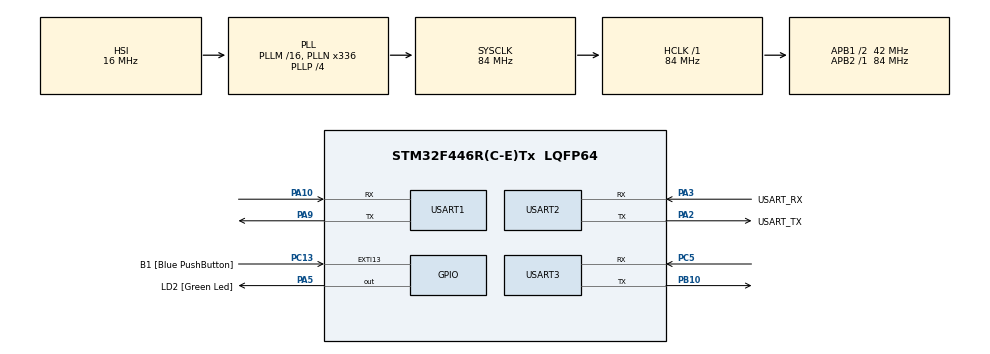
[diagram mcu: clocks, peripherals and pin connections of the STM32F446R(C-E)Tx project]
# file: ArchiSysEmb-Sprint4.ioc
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Mcu.Family=STM32F4
Mcu.Name=STM32F446R(C-E)Tx
Mcu.Package=LQFP64
NVIC.PriorityGroup=NVIC_PRIORITYGROUP_0
PA10.Mode=Asynchronous
PA10.Signal=USART1_RX
PA13.GPIO_Label=TMS
PA13.Mode=Serial_Wire
PA13.Signal=SYS_JTMS-SWDIO
PA14.GPIO_Label=TCK
PA14.Mode=Serial_Wire
PA14.Signal=SYS_JTCK-SWCLK
PA2.GPIO_Label=USART_TX
PA2.Mode=Asynchronous
PA2.Signal=USART2_TX
PA3.GPIO_Label=USART_RX
PA3.Mode=Asynchronous
PA3.Signal=USART2_RX
PA5.GPIO_Label=LD2 [Green Led]
PA5.Signal=GPIO_Output
PA9.Mode=Asynchronous
PA9.Signal=USART1_TX
PB10.Mode=Asynchronous
PB10.Signal=USART3_TX
PB3.GPIO_Label=SWO
PB3.Signal=SYS_JTDO-SWO
PC13.GPIO_Label=B1 [Blue PushButton]
PC13.GPIO_ModeDefaultEXTI=GPIO_MODE_IT_FALLING
PC13.Signal=GPXTI13
PC14-OSC32_IN.Mode=LSE-External-Oscillator
PC14-OSC32_IN.Signal=RCC_OSC32_IN
PC15-OSC32_OUT.Mode=LSE-External-Oscillator
PC15-OSC32_OUT.Signal=RCC_OSC32_OUT
PC5.Mode=Asynchronous
PC5.Signal=USART3_RX
PH0-OSC_IN.Mode=HSE-External-Oscillator
PH0-OSC_IN.Signal=RCC_OSC_IN
PH1-OSC_OUT.Mode=HSE-External-Oscillator
PH1-OSC_OUT.Signal=RCC_OSC_OUT
ProjectManager.HeapSize=0x200
ProjectManager.StackSize=0x400
ProjectManager.TargetToolchain=STM32CubeIDE
RCC.48MHZClocksFreq_Value=84000000
RCC.AHBFreq_Value=84000000
RCC.APB1CLKDivider=RCC_HCLK_DIV2
RCC.APB1Freq_Value=42000000
RCC.APB1TimFreq_Value=84000000
RCC.APB2Freq_Value=84000000
RCC.APB2TimFreq_Value=84000000
RCC.CortexFreq_Value=84000000
RCC.FLatency-AdvancedSettings=FLASH_LATENCY_2
RCC.HCLKFreq_Value=84000000
RCC.HSE_VALUE=8000000
RCC.HSI_VALUE=16000000
RCC.PLLN=336
RCC.PLLP=RCC_PLLP_DIV4
RCC.SYSCLKFreq_VALUE=84000000
RCC.SYSCLKSource=RCC_SYSCLKSOURCE_PLLCLK
RCC.USBFreq_Value=168000000
RCC.VCOOutputFreq_Value=336000000
USART1.VirtualMode=VM_ASYNC
USART2.VirtualMode=VM_ASYNC
USART3.VirtualMode=VM_ASYNC
board=NUCLEO-F446RE

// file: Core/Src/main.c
/* USER CODE BEGIN Header */
/**
  ******************************************************************************
  * @file           : main.c
  * @brief          : Main program body
  ******************************************************************************
  * @attention
  *
  * Copyright (c) 2022 STMicroelectronics.
  * All rights reserved.
  *
  * This software is licensed under terms that can be found in the LICENSE file
  * in the root directory of this software component.
  * If no LICENSE file comes with this software, it is provided AS-IS.
  *
  ******************************************************************************
  */
/* USER CODE END Header */
#include "main.h"

/* USER CODE BEGIN Includes */
#include <stdlib.h>
#include <stdint.h>
#include <string.h>
#include <stdio.h>
/* USER CODE END Includes */

/* USER CODE BEGIN PM */
#define UART_TIMEOUT 5000
#define UART_BUFFER_SIZE 8192
/* USER CODE END PM */

UART_HandleTypeDef huart1;
UART_HandleTypeDef huart2;
UART_HandleTypeDef huart3;

void SystemClock_Config(void);
static void MX_GPIO_Init(void);
static void MX_USART2_UART_Init(void);
static void MX_USART1_UART_Init(void);
static void MX_USART3_UART_Init(void);
/* USER CODE BEGIN PFP */

static void writeUART(UART_HandleTypeDef *, uint8_t *, uint16_t);
static void readUART(UART_HandleTypeDef *, uint8_t *, uint16_t);

/* USER CODE END PFP */

int main(void)
{

  /* MCU Configuration--------------------------------------------------------*/

  /* Reset of all peripherals, Initializes the Flash interface and the Systick. */
  HAL_Init();

  /* Configure the system clock */
  SystemClock_Config();

  /* Initialize all configured peripherals */
  MX_GPIO_Init();
  MX_USART2_UART_Init();
  MX_USART1_UART_Init();
  MX_USART3_UART_Init();
  /* USER CODE BEGIN 2 */

  uint8_t uartBuffer[UART_BUFFER_SIZE];
  uint16_t uartBufferSize;

  // First message

  uartBufferSize = (uint16_t) sprintf((char *) uartBuffer, "HELLO");
  writeUART(&huart1, uartBuffer, uartBufferSize);

  readUART(&huart3, uartBuffer, UART_BUFFER_SIZE);

  // Second message

  uartBufferSize = (uint16_t) sprintf((char *) uartBuffer, "SALUT");
  writeUART(&huart3, uartBuffer, uartBufferSize);

  readUART(&huart1, uartBuffer, UART_BUFFER_SIZE);

  // Third message

  // Generate a 5000 bytes strings of alternating 0 and 1 (0xAA)
  uartBufferSize = 5000;
  for (uint8_t *ptr = uartBuffer; ptr < (uartBuffer + uartBufferSize); ptr++) {
	  *ptr = (uint8_t) 0xAA;
  }
  uartBuffer[uartBufferSize] = '\0';

  writeUART(&huart1, uartBuffer, uartBufferSize);

  readUART(&huart3, uartBuffer, UART_BUFFER_SIZE);

  // Fourth message

  uartBufferSize = (uint16_t) sprintf((char *) uartBuffer, "ACK");
  writeUART(&huart3, uartBuffer, uartBufferSize);

  readUART(&huart1, uartBuffer, UART_BUFFER_SIZE);

  /* USER CODE END 2 */

  /* Infinite loop */
  while (1)
  {

  }
}

void SystemClock_Config(void)
{
  RCC_OscInitTypeDef RCC_OscInitStruct = {0};
  RCC_ClkInitTypeDef RCC_ClkInitStruct = {0};

  /** Configure the main internal regulator output voltage
  */
  __HAL_RCC_PWR_CLK_ENABLE();
  __HAL_PWR_VOLTAGESCALING_CONFIG(PWR_REGULATOR_VOLTAGE_SCALE3);

  /** Initializes the RCC Oscillators according to the specified parameters
  * in the RCC_OscInitTypeDef structure.
  */
  RCC_OscInitStruct.OscillatorType = RCC_OSCILLATORTYPE_HSI;
  RCC_OscInitStruct.HSIState = RCC_HSI_ON;
  RCC_OscInitStruct.HSICalibrationValue = RCC_HSICALIBRATION_DEFAULT;
  RCC_OscInitStruct.PLL.PLLState = RCC_PLL_ON;
  RCC_OscInitStruct.PLL.PLLSource = RCC_PLLSOURCE_HSI;
  RCC_OscInitStruct.PLL.PLLM = 16;
  RCC_OscInitStruct.PLL.PLLN = 336;
  RCC_OscInitStruct.PLL.PLLP = RCC_PLLP_DIV4;
  RCC_OscInitStruct.PLL.PLLQ = 2;
  RCC_OscInitStruct.PLL.PLLR = 2;
  if (HAL_RCC_OscConfig(&RCC_OscInitStruct) != HAL_OK)
  {
    Error_Handler();
  }

  /** Initializes the CPU, AHB and APB buses clocks
  */
  RCC_ClkInitStruct.ClockType = RCC_CLOCKTYPE_HCLK|RCC_CLOCKTYPE_SYSCLK
                              |RCC_CLOCKTYPE_PCLK1|RCC_CLOCKTYPE_PCLK2;
  RCC_ClkInitStruct.SYSCLKSource = RCC_SYSCLKSOURCE_PLLCLK;
  RCC_ClkInitStruct.AHBCLKDivider = RCC_SYSCLK_DIV1;
  RCC_ClkInitStruct.APB1CLKDivider = RCC_HCLK_DIV2;
  RCC_ClkInitStruct.APB2CLKDivider = RCC_HCLK_DIV1;

  if (HAL_RCC_ClockConfig(&RCC_ClkInitStruct, FLASH_LATENCY_2) != HAL_OK)
  {
    Error_Handler();
  }
}

static void MX_USART1_UART_Init(void)
{

  huart1.Instance = USART1;
  huart1.Init.BaudRate = 115200;
  huart1.Init.WordLength = UART_WORDLENGTH_8B;
  huart1.Init.StopBits = UART_STOPBITS_1;
  huart1.Init.Parity = UART_PARITY_NONE;
  huart1.Init.Mode = UART_MODE_TX_RX;
  huart1.Init.HwFlowCtl = UART_HWCONTROL_NONE;
  huart1.Init.OverSampling = UART_OVERSAMPLING_16;
  if (HAL_UART_Init(&huart1) != HAL_OK)
  {
    Error_Handler();
  }

}

static void MX_USART2_UART_Init(void)
{

  huart2.Instance = USART2;
  huart2.Init.BaudRate = 115200;
  huart2.Init.WordLength = UART_WORDLENGTH_8B;
  huart2.Init.StopBits = UART_STOPBITS_1;
  huart2.Init.Parity = UART_PARITY_NONE;
  huart2.Init.Mode = UART_MODE_TX_RX;
  huart2.Init.HwFlowCtl = UART_HWCONTROL_NONE;
  huart2.Init.OverSampling = UART_OVERSAMPLING_16;
  if (HAL_UART_Init(&huart2) != HAL_OK)
  {
    Error_Handler();
  }

}

static void MX_USART3_UART_Init(void)
{

  huart3.Instance = USART3;
  huart3.Init.BaudRate = 115200;
  huart3.Init.WordLength = UART_WORDLENGTH_8B;
  huart3.Init.StopBits = UART_STOPBITS_1;
  huart3.Init.Parity = UART_PARITY_NONE;
  huart3.Init.Mode = UART_MODE_TX_RX;
  huart3.Init.HwFlowCtl = UART_HWCONTROL_NONE;
  huart3.Init.OverSampling = UART_OVERSAMPLING_16;
  if (HAL_UART_Init(&huart3) != HAL_OK)
  {
    Error_Handler();
  }

}

static void MX_GPIO_Init(void)
{
  GPIO_InitTypeDef GPIO_InitStruct = {0};

  /* GPIO Ports Clock Enable */
  __HAL_RCC_GPIOC_CLK_ENABLE();
  __HAL_RCC_GPIOH_CLK_ENABLE();
  __HAL_RCC_GPIOA_CLK_ENABLE();
  __HAL_RCC_GPIOB_CLK_ENABLE();

  /*Configure GPIO pin Output Level */
  HAL_GPIO_WritePin(LD2_GPIO_Port, LD2_Pin, GPIO_PIN_RESET);

  /*Configure GPIO pin : B1_Pin */
  GPIO_InitStruct.Pin = B1_Pin;
  GPIO_InitStruct.Mode = GPIO_MODE_IT_FALLING;
  GPIO_InitStruct.Pull = GPIO_NOPULL;
  HAL_GPIO_Init(B1_GPIO_Port, &GPIO_InitStruct);

  /*Configure GPIO pin : LD2_Pin */
  GPIO_InitStruct.Pin = LD2_Pin;
  GPIO_InitStruct.Mode = GPIO_MODE_OUTPUT_PP;
  GPIO_InitStruct.Pull = GPIO_NOPULL;
  GPIO_InitStruct.Speed = GPIO_SPEED_FREQ_LOW;
  HAL_GPIO_Init(LD2_GPIO_Port, &GPIO_InitStruct);

}

/* USER CODE BEGIN 4 */

void writeUART(UART_HandleTypeDef *huart, uint8_t *buffer, uint16_t size) {

	char uartLabel[7];

	if (huart == &huart1) sprintf(uartLabel, "UART_1");
	if (huart == &huart2) sprintf(uartLabel, "UART_2");
	if (huart == &huart3) sprintf(uartLabel, "UART_3");

	uint8_t uartDebugMsg[UART_BUFFER_SIZE];
	uint16_t uartDebugMsgSize = 0;

	HAL_UART_Transmit(huart, buffer, size, UART_TIMEOUT);

	uartDebugMsgSize = sprintf((char *) uartDebugMsg, "[%s] Wrote %s\n\r", uartLabel, buffer);
	HAL_UART_Transmit(&huart2, uartDebugMsg, uartDebugMsgSize, UART_TIMEOUT);
}

void readUART(UART_HandleTypeDef *huart, uint8_t *buffer, uint16_t size) {

	char uartLabel[7];

	if (huart == &huart1) sprintf(uartLabel, "UART_1");
	if (huart == &huart2) sprintf(uartLabel, "UART_2");
	if (huart == &huart3) sprintf(uartLabel, "UART_3");

	uint8_t uartDebugMsg[UART_BUFFER_SIZE];
	uint16_t uartDebugMsgSize = 0;

	HAL_UART_Receive(huart, buffer, size, UART_TIMEOUT);

	uartDebugMsgSize = sprintf((char *)uartDebugMsg, "[%s] Read %s\n\r", uartLabel, buffer);
	HAL_UART_Transmit(&huart2, uartDebugMsg, uartDebugMsgSize, UART_TIMEOUT);
}

/* USER CODE END 4 */

void Error_Handler(void)
{
  __disable_irq();
  while (1)
  {
  }
}
